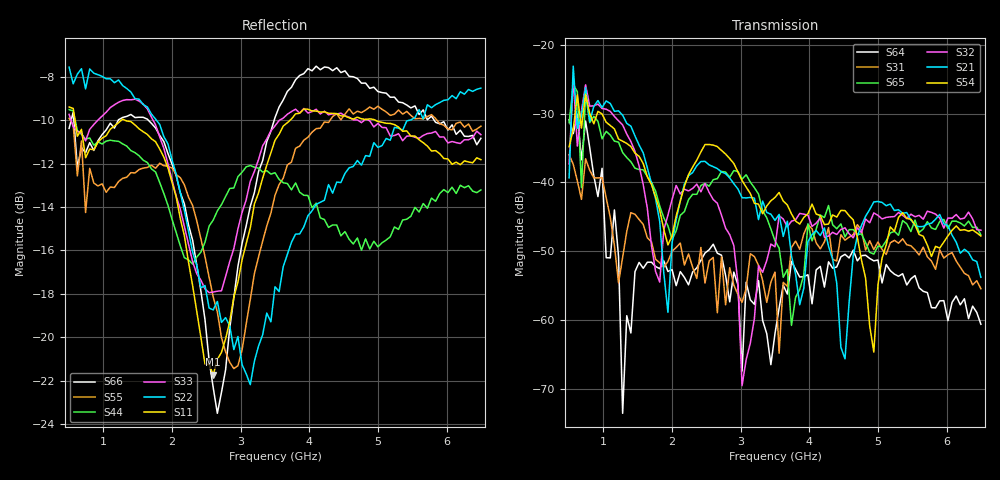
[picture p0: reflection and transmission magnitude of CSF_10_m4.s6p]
!Keysight Technologies,M9804A,MY58100912,A.14.10.03
!Date: Thursday, April 27, 2023 10:28:33
!Correction: S11(C  6-Port  )
!S12(C  6-Port  )
!S13(C  6-Port  )
!S14(C  6-Port  )
!S15(C  6-Port  )
!S16(C  6-Port  )
!S21(C  6-Port  )
!S22(C  6-Port  )
!S23(C  6-Port  )
!S24(C  6-Port  )
!S25(C  6-Port  )
!S26(C  6-Port  )
!S31(C  6-Port  )
!S32(C  6-Port  )
!S33(C  6-Port  )
!S34(C  6-Port  )
!S35(C  6-Port  )
!S36(C  6-Port  )
!S41(C  6-Port  )
!S42(C  6-Port  )
!S43(C  6-Port  )
!S44(C  6-Port  )
!S45(C  6-Port  )
!S46(C  6-Port  )
!S51(C  6-Port  )
!S52(C  6-Port  )
!S53(C  6-Port  )
!S54(C  6-Port  )
!S55(C  6-Port  )
!S56(C  6-Port  )
!S61(C  6-Port  )
!S62(C  6-Port  )
!S63(C  6-Port  )
!S64(C  6-Port  )
!S65(C  6-Port  )
!S66(C  6-Port  )
!S6P File: Measurement: :
# Hz S  RI  R 50
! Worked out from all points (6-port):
!   101 points, 500 MHz to 6.5 GHz, reference 50 ohm
!   strongest paths, dB at 500 MHz, 2 GHz, 3.5 GHz, 5 GHz, 6.5 GHz:
!     S54: -34.8, -47.8, -42.2, -54.9, -47.8
!     S21: -39.4, -48.8, -45.5, -42.8, -53.8
!     S32: -37.3, -42.5, -49.4, -44.8, -47.0
!     S65: -31.3, -48.3, -48.5, -49.3, -47.6
!     S31: -36.0, -50.0, -53.1, -48.7, -55.5
!     S64: -30.9, -52.7, -62.0, -51.3, -60.6
!   lowest |S11| = -21.7 dB at 2.6 GHz (marker M1), VSWR 1.18, Z = 42.7 + j1.99 ohm
!   |S11| at or under -10 dB: 585.2 MHz to 1.264 GHz (678.5 MHz wide, 73.4 % of centre); 1.311 GHz to 3.721 GHz (2.411 GHz wide, 95.8 % of centre); 4.959 GHz to end of sweep
